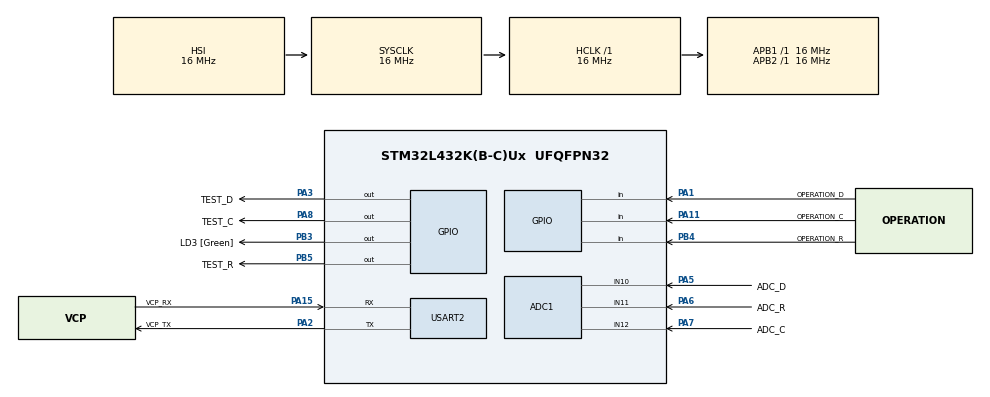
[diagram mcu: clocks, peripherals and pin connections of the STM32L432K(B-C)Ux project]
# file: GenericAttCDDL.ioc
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ADC1.Channel-0\#ChannelRegularConversion=ADC_CHANNEL_10
ADC1.ClockPrescaler=ADC_CLOCK_SYNC_PCLK_DIV2
ADC1.ContinuousConvMode=DISABLE
ADC1.EOCSelection=ADC_EOC_SINGLE_CONV
ADC1.NbrOfConversion=1
ADC1.NbrOfConversionFlag=1
ADC1.OffsetNumber-0\#ChannelRegularConversion=ADC_OFFSET_NONE
ADC1.Rank-0\#ChannelRegularConversion=1
ADC1.SamplingTime-0\#ChannelRegularConversion=ADC_SAMPLETIME_2CYCLES_5
ADC1.master=1
Mcu.Family=STM32L4
Mcu.Name=STM32L432K(B-C)Ux
Mcu.Package=UFQFPN32
NVIC.PriorityGroup=NVIC_PRIORITYGROUP_4
PA0.GPIO_Label=MCO [High speed clock in]
PA0.Mode=HSE-External-Clock-Source-for-LittleOrca
PA0.Signal=RCC_CK_IN
PA1.GPIO_Label=OPERATION_D
PA1.Signal=GPIO_Input
PA11.GPIO_Label=OPERATION_C
PA11.Signal=GPIO_Input
PA13\ (JTMS-SWDIO).GPIO_Label=SWDIO
PA13\ (JTMS-SWDIO).Mode=Serial_Wire
PA13\ (JTMS-SWDIO).Signal=SYS_JTMS-SWDIO
PA14\ (JTCK-SWCLK).GPIO_Label=SWCLK
PA14\ (JTCK-SWCLK).Mode=Serial_Wire
PA14\ (JTCK-SWCLK).Signal=SYS_JTCK-SWCLK
PA15\ (JTDI).GPIO_Label=VCP_RX
PA15\ (JTDI).Mode=Asynchronous
PA15\ (JTDI).Signal=USART2_RX
PA2.GPIO_Label=VCP_TX
PA2.Mode=Asynchronous
PA2.Signal=USART2_TX
PA3.GPIO_Label=TEST_D
PA3.Signal=GPIO_Output
PA5.GPIO_Label=ADC_D
PA5.Signal=ADCx_IN10
PA6.GPIO_Label=ADC_R
PA6.Signal=ADCx_IN11
PA7.GPIO_Label=ADC_C
PA7.Signal=ADCx_IN12
PA8.GPIO_Label=TEST_C
PA8.Signal=GPIO_Output
PB3\ (JTDO-TRACESWO).GPIO_Label=LD3 [Green]
PB3\ (JTDO-TRACESWO).Signal=GPIO_Output
PB4\ (NJTRST).GPIO_Label=OPERATION_R
PB4\ (NJTRST).Signal=GPIO_Input
PB5.GPIO_Label=TEST_R
PB5.Signal=GPIO_Output
PC14-OSC32_IN\ (PC14).Mode=LSE-External-Oscillator
PC14-OSC32_IN\ (PC14).Signal=RCC_OSC32_IN
PC15-OSC32_OUT\ (PC15).Mode=LSE-External-Oscillator
PC15-OSC32_OUT\ (PC15).Signal=RCC_OSC32_OUT
ProjectManager.HeapSize=0x200
ProjectManager.StackSize=0x400
ProjectManager.TargetToolchain=STM32CubeIDE
RCC.ADCCLockSelection=RCC_ADCCLKSOURCE_SYSCLK
RCC.ADCFreq_Value=16000000
RCC.AHBFreq_Value=16000000
RCC.APB1Freq_Value=16000000
RCC.APB1TimFreq_Value=16000000
RCC.APB2Freq_Value=16000000
RCC.APB2TimFreq_Value=16000000
RCC.CortexFreq_Value=16000000
RCC.HCLKFreq_Value=16000000
RCC.HSE_VALUE=8000000
RCC.HSI16_VALUE=16000000
RCC.HSI48_VALUE=48000000
RCC.HSI_VALUE=16000000
RCC.MSI_VALUE=4000000
RCC.PLLMUL=RCC_PLLMUL_4
RCC.PLLN=16
RCC.PLLSAI1N=16
RCC.SYSCLKFreq_VALUE=16000000
RCC.SYSCLKSource=RCC_SYSCLKSOURCE_HSI
RCC.USBFreq_Value=32000000
RCC.VCOOutputFreq_Value=64000000
SH.ADCx_IN10.0=ADC1_IN10,IN10-Single-Ended
SH.ADCx_IN11.0=ADC1_IN11,IN11-Single-Ended
SH.ADCx_IN12.0=ADC1_IN12,IN12-Single-Ended
TIM1.ClockDivision=TIM_CLOCKDIVISION_DIV1
TIM1.Period=0xffff-1
TIM1.Prescaler=16-1
USART2.VirtualMode-Asynchronous=VM_ASYNC
VP_TIM1_VS_ClockSourceINT.Mode=Internal
board=NUCLEO-L432KC

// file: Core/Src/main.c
/* USER CODE BEGIN Header */
/**
 ******************************************************************************
 * @file           : main.c
 * @brief          : Main program body
 ******************************************************************************
 * @attention
 *
 * <h2><center>&copy; Copyright (c) 2020 STMicroelectronics.
 * All rights reserved.</center></h2>
 *
 * This software component is licensed by ST under BSD 3-Clause license,
 * the "License"; You may not use this file except in compliance with the
 * License. You may obtain a copy of the License at:
 *                        opensource.org/licenses/BSD-3-Clause
 *
 ******************************************************************************
 */

/* USER CODE END Header */
#include "main.h"

/* USER CODE BEGIN Includes */
#include <string.h>
#include <stdio.h>
#include <inttypes.h>

#include "fingerprinter.h"
#include "cddlEncoder.h"
/* USER CODE END Includes */

/* USER CODE BEGIN PD */
//both of these values have to be smaller than DEFAULT_MAX_QTY (analogMeasurementTypes.h) for CBOR conversion
#define SAMPLE_SIZE (20)
#define NUM_OF_SAMPLES (2)
/* USER CODE END PD */

ADC_HandleTypeDef hadc1;

TIM_HandleTypeDef htim1;

UART_HandleTypeDef huart2;

void SystemClock_Config(void);
static void MX_GPIO_Init(void);
static void MX_USART2_UART_Init(void);
static void MX_TIM1_Init(void);
static void MX_ADC1_Init(void);

int main(void)
{

  /* MCU Configuration--------------------------------------------------------*/

  /* Reset of all peripherals, Initializes the Flash interface and the Systick. */
  HAL_Init();

  /* Configure the system clock */
  SystemClock_Config();

  /* Initialize all configured peripherals */
  MX_GPIO_Init();
  MX_USART2_UART_Init();
  MX_TIM1_Init();
  MX_ADC1_Init();
  /* USER CODE BEGIN 2 */

	// Initialize the fingerprinter
	Fingerprinter fingerprinter;
	init_fingerprinter(&fingerprinter, "Digital Load", TEST_D_GPIO_Port,
			TEST_D_Pin, OPERATION_D_GPIO_Port, OPERATION_D_Pin, &huart2,
			&htim1, &hadc1, SAMPLE_SIZE, NUM_OF_SAMPLES);
	get_fingerprint(&fingerprinter, 1);
	UsefulBufC EncodedCBOR;
	QCBORError err = convert_to_cbor(&fingerprinter, &EncodedCBOR);
	/*char string_buf [40];
	snprintf(string_buf, 40, "[STATUS] rv: %d; len: %d\r\n", err, EncodedCBOR.len);
	print_string(&huart2, string_buf);*/

  /* USER CODE END 2 */

  /* Infinite loop */
  /* USER CODE BEGIN WHILE */
	while (1)
	{
		HAL_GPIO_TogglePin(OPERATION_D_GPIO_Port, OPERATION_D_Pin);
		HAL_Delay(500);
    /* USER CODE END WHILE */

	}
}

void SystemClock_Config(void)
{
  RCC_OscInitTypeDef RCC_OscInitStruct = {0};
  RCC_ClkInitTypeDef RCC_ClkInitStruct = {0};

  /** Configure the main internal regulator output voltage
  */
  if (HAL_PWREx_ControlVoltageScaling(PWR_REGULATOR_VOLTAGE_SCALE1) != HAL_OK)
  {
    Error_Handler();
  }

  /** Initializes the RCC Oscillators according to the specified parameters
  * in the RCC_OscInitTypeDef structure.
  */
  RCC_OscInitStruct.OscillatorType = RCC_OSCILLATORTYPE_HSI;
  RCC_OscInitStruct.HSIState = RCC_HSI_ON;
  RCC_OscInitStruct.HSICalibrationValue = RCC_HSICALIBRATION_DEFAULT;
  RCC_OscInitStruct.PLL.PLLState = RCC_PLL_NONE;
  if (HAL_RCC_OscConfig(&RCC_OscInitStruct) != HAL_OK)
  {
    Error_Handler();
  }

  /** Initializes the CPU, AHB and APB buses clocks
  */
  RCC_ClkInitStruct.ClockType = RCC_CLOCKTYPE_HCLK|RCC_CLOCKTYPE_SYSCLK
                              |RCC_CLOCKTYPE_PCLK1|RCC_CLOCKTYPE_PCLK2;
  RCC_ClkInitStruct.SYSCLKSource = RCC_SYSCLKSOURCE_HSI;
  RCC_ClkInitStruct.AHBCLKDivider = RCC_SYSCLK_DIV1;
  RCC_ClkInitStruct.APB1CLKDivider = RCC_HCLK_DIV1;
  RCC_ClkInitStruct.APB2CLKDivider = RCC_HCLK_DIV1;

  if (HAL_RCC_ClockConfig(&RCC_ClkInitStruct, FLASH_LATENCY_0) != HAL_OK)
  {
    Error_Handler();
  }
}

static void MX_ADC1_Init(void)
{

  ADC_ChannelConfTypeDef sConfig = {0};

  /** Common config
  */
  hadc1.Instance = ADC1;
  hadc1.Init.ClockPrescaler = ADC_CLOCK_SYNC_PCLK_DIV2;
  hadc1.Init.Resolution = ADC_RESOLUTION_12B;
  hadc1.Init.DataAlign = ADC_DATAALIGN_RIGHT;
  hadc1.Init.ScanConvMode = ADC_SCAN_DISABLE;
  hadc1.Init.EOCSelection = ADC_EOC_SINGLE_CONV;
  hadc1.Init.LowPowerAutoWait = DISABLE;
  hadc1.Init.ContinuousConvMode = DISABLE;
  hadc1.Init.NbrOfConversion = 1;
  hadc1.Init.DiscontinuousConvMode = DISABLE;
  hadc1.Init.ExternalTrigConv = ADC_SOFTWARE_START;
  hadc1.Init.ExternalTrigConvEdge = ADC_EXTERNALTRIGCONVEDGE_NONE;
  hadc1.Init.DMAContinuousRequests = DISABLE;
  hadc1.Init.Overrun = ADC_OVR_DATA_PRESERVED;
  hadc1.Init.OversamplingMode = DISABLE;
  if (HAL_ADC_Init(&hadc1) != HAL_OK)
  {
    Error_Handler();
  }

  /** Configure Regular Channel
  */
  sConfig.Channel = ADC_CHANNEL_10;
  sConfig.Rank = ADC_REGULAR_RANK_1;
  sConfig.SamplingTime = ADC_SAMPLETIME_2CYCLES_5;
  sConfig.SingleDiff = ADC_SINGLE_ENDED;
  sConfig.OffsetNumber = ADC_OFFSET_NONE;
  sConfig.Offset = 0;
  if (HAL_ADC_ConfigChannel(&hadc1, &sConfig) != HAL_OK)
  {
    Error_Handler();
  }

}

static void MX_TIM1_Init(void)
{

  TIM_ClockConfigTypeDef sClockSourceConfig = {0};
  TIM_MasterConfigTypeDef sMasterConfig = {0};

  htim1.Instance = TIM1;
  htim1.Init.Prescaler = 16-1;
  htim1.Init.CounterMode = TIM_COUNTERMODE_UP;
  htim1.Init.Period = 0xffff-1;
  htim1.Init.ClockDivision = TIM_CLOCKDIVISION_DIV1;
  htim1.Init.RepetitionCounter = 0;
  htim1.Init.AutoReloadPreload = TIM_AUTORELOAD_PRELOAD_DISABLE;
  if (HAL_TIM_Base_Init(&htim1) != HAL_OK)
  {
    Error_Handler();
  }
  sClockSourceConfig.ClockSource = TIM_CLOCKSOURCE_INTERNAL;
  if (HAL_TIM_ConfigClockSource(&htim1, &sClockSourceConfig) != HAL_OK)
  {
    Error_Handler();
  }
  sMasterConfig.MasterOutputTrigger = TIM_TRGO_RESET;
  sMasterConfig.MasterOutputTrigger2 = TIM_TRGO2_RESET;
  sMasterConfig.MasterSlaveMode = TIM_MASTERSLAVEMODE_DISABLE;
  if (HAL_TIMEx_MasterConfigSynchronization(&htim1, &sMasterConfig) != HAL_OK)
  {
    Error_Handler();
  }

}

static void MX_USART2_UART_Init(void)
{

  huart2.Instance = USART2;
  huart2.Init.BaudRate = 115200;
  huart2.Init.WordLength = UART_WORDLENGTH_8B;
  huart2.Init.StopBits = UART_STOPBITS_1;
  huart2.Init.Parity = UART_PARITY_NONE;
  huart2.Init.Mode = UART_MODE_TX_RX;
  huart2.Init.HwFlowCtl = UART_HWCONTROL_NONE;
  huart2.Init.OverSampling = UART_OVERSAMPLING_16;
  huart2.Init.OneBitSampling = UART_ONE_BIT_SAMPLE_DISABLE;
  huart2.AdvancedInit.AdvFeatureInit = UART_ADVFEATURE_NO_INIT;
  if (HAL_UART_Init(&huart2) != HAL_OK)
  {
    Error_Handler();
  }

}

static void MX_GPIO_Init(void)
{
  GPIO_InitTypeDef GPIO_InitStruct = {0};

  /* GPIO Ports Clock Enable */
  __HAL_RCC_GPIOC_CLK_ENABLE();
  __HAL_RCC_GPIOA_CLK_ENABLE();
  __HAL_RCC_GPIOB_CLK_ENABLE();

  /*Configure GPIO pin Output Level */
  HAL_GPIO_WritePin(GPIOA, TEST_D_Pin|TEST_C_Pin, GPIO_PIN_RESET);

  /*Configure GPIO pin Output Level */
  HAL_GPIO_WritePin(GPIOB, LD3_Pin|TEST_R_Pin, GPIO_PIN_RESET);

  /*Configure GPIO pins : OPERATION_D_Pin OPERATION_C_Pin */
  GPIO_InitStruct.Pin = OPERATION_D_Pin|OPERATION_C_Pin;
  GPIO_InitStruct.Mode = GPIO_MODE_INPUT;
  GPIO_InitStruct.Pull = GPIO_NOPULL;
  HAL_GPIO_Init(GPIOA, &GPIO_InitStruct);

  /*Configure GPIO pins : TEST_D_Pin TEST_C_Pin */
  GPIO_InitStruct.Pin = TEST_D_Pin|TEST_C_Pin;
  GPIO_InitStruct.Mode = GPIO_MODE_OUTPUT_PP;
  GPIO_InitStruct.Pull = GPIO_NOPULL;
  GPIO_InitStruct.Speed = GPIO_SPEED_FREQ_LOW;
  HAL_GPIO_Init(GPIOA, &GPIO_InitStruct);

  /*Configure GPIO pins : LD3_Pin TEST_R_Pin */
  GPIO_InitStruct.Pin = LD3_Pin|TEST_R_Pin;
  GPIO_InitStruct.Mode = GPIO_MODE_OUTPUT_PP;
  GPIO_InitStruct.Pull = GPIO_NOPULL;
  GPIO_InitStruct.Speed = GPIO_SPEED_FREQ_LOW;
  HAL_GPIO_Init(GPIOB, &GPIO_InitStruct);

  /*Configure GPIO pin : OPERATION_R_Pin */
  GPIO_InitStruct.Pin = OPERATION_R_Pin;
  GPIO_InitStruct.Mode = GPIO_MODE_INPUT;
  GPIO_InitStruct.Pull = GPIO_NOPULL;
  HAL_GPIO_Init(OPERATION_R_GPIO_Port, &GPIO_InitStruct);

}

void Error_Handler(void)
{
}
